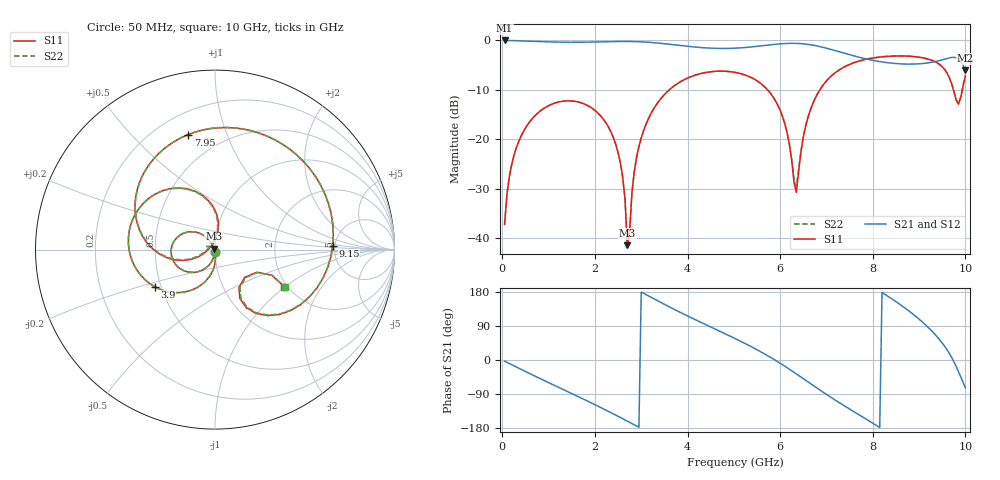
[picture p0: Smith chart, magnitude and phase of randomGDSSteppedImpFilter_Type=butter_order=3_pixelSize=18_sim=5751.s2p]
! freq	dB(S11)	phase(S11)	dB(S12)	phase(S12)
!  dB(S21)	phase(S21)	dB(S22)	phase(S22)
!S-par simulation data
#  GHz  S  DB  R 50
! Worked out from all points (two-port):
!   200 points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, 50 MHz to 10 GHz, reference 50 ohm
!   highest |S21| = 0.00 dB at 50 MHz (marker M1); lowest = -6.0 dB at 10 GHz (marker M2)
!   |S21| within 3 dB of the highest: start of sweep to 7.542 GHz
!   lowest |S11| = -41.4 dB at 2.7 GHz (marker M3), VSWR 1.02, Z = 49.3 + j0.486 ohm
!   |S11| at or under -10 dB: start of sweep to 3.605 GHz; 5.728 GHz to 6.857 GHz (1.129 GHz wide, 17.9 % of centre); 9.741 GHz to 9.933 GHz (191.6 MHz wide, 1.95 % of centre)
!   |S22| runs from -41.6 to -3.1 dB; largest |S21 - S12| = 0
!   S11 on the Smith chart (normalised r, x): 50 MHz: 1.00, -0.03; 3.9 GHz: 0.46, -0.23; 7.95 GHz: 0.33, +0.74; 9.15 GHz: 4.79, +0.36; 10 GHz: 1.93, -0.99
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0.05  -37.18 -92.8  -0.00 -3.1  -0.00 -3.1  -37.18 -92.8
0.2  -25.22 -102.4  -0.03 -12.3  -0.03 -12.3  -25.22 -102.3
0.55  -16.99 -123.8  -0.13 -33.3  -0.13 -33.3  -16.99 -123.7
1.75  -12.77 166.7  -0.36 -103.1  -0.36 -103.1  -12.77 166.7
2.45  -21.01 126.2  -0.22 -145.4  -0.22 -145.4  -21.01 126.1
2.6  -27.63 120.0  -0.20 -154.9  -0.20 -154.9  -27.64 119.6
2.7  -41.41 144.6  -0.20 -161.3  -0.20 -161.3  -41.59 142.7
2.95  -21.47 -91.3  -0.26 -177.5  -0.26 -177.5  -21.47 -91.0
3.4  -12.05 -118.2  -0.56 153.3  -0.56 153.3  -12.05 -118.0
3.9  -8.07 -148.5  -1.08 122.3  -1.08 122.3  -8.07 -148.3
5.05  -6.50 145.8  -1.55 55.3  -1.55 55.3  -6.50 146.1
5.95  -13.12 90.1  -0.73 -4.7  -0.73 -4.7  -13.10 91.2
6.35  -30.74 155.3  -0.59 -36.7  -0.59 -36.7  -29.55 153.6
6.7  -12.88 -165.2  -0.94 -66.1  -0.94 -66.1  -12.86 -166.3
7.3  -5.81 150.4  -2.36 -114.4  -2.36 -114.4  -5.80 150.1
7.95  -3.63 103.1  -3.93 -162.9  -3.93 -162.9  -3.63 102.9
8.35  -3.20 73.2  -4.53 166.3  -4.53 166.3  -3.19 73.1
9.15  -3.66 1.9  -4.59 91.5  -4.59 91.5  -3.65 2.1
9.45  -4.92 -32.6  -4.06 52.5  -4.06 52.5  -4.91 -32.1
9.7  -8.68 -61.6  -3.44 7.5  -3.44 7.5  -8.63 -60.7
9.85  -12.89 -43.1  -3.75 -30.4  -3.75 -30.4  -12.72 -42.5
10  -7.15 -28.1  -6.02 -73.1  -6.02 -73.1  -7.10 -28.0
